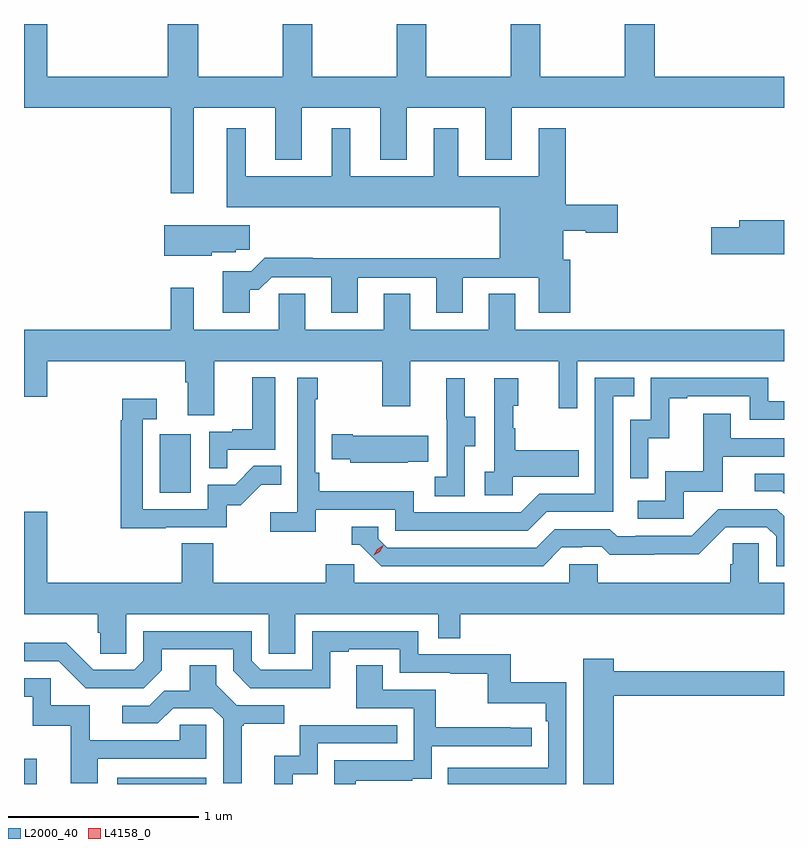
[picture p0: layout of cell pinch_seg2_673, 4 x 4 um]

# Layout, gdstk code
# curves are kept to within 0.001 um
import gdstk
lib = gdstk.Library(unit=1e-6, precision=1e-09)
def R(c, l, rs):  # rectangles x0, y0, x1, y1
    for r in rs: c.add(gdstk.rectangle(r[:2], r[2:], *l))
def P(c, l, *ps):  # polygons
    for p in ps: c.add(gdstk.Polygon(p, *l))
L2000_40 = (2000, 40)
L4158_0 = (4158, 0)

pinch_seg2_673 = lib.new_cell('pinch_seg2_673')
R(pinch_seg2_673, L2000_40, [(1100.114,598.79,1100.18,598.922), (1100.604,598.79,1101.072,598.824), (1100.828,600.324,1100.992,600.631)])
P(pinch_seg2_673, L2000_40, [(1101.007,602.348),(1101.437,602.348),(1101.437,602.075),(1101.577,602.075),(1101.577,602.348),(1101.989,602.348),(1101.989,602.075),(1102.129,602.075),(1102.129,602.348),(1102.541,602.348),(1102.541,602.075),(1102.681,602.075),(1102.681,602.348),(1104.114,602.348),(1104.114,602.512),(1103.435,602.512),(1103.435,602.79),(1103.275,602.79),(1103.275,602.512),(1102.83,602.512),(1102.83,602.79),(1102.675,602.79),(1102.675,602.512),(1102.23,602.512),(1102.23,602.79),(1102.075,602.79),(1102.075,602.512),(1101.63,602.512),(1101.63,602.79),(1101.475,602.79),(1101.475,602.512),(1101.03,602.512),(1101.03,602.79),(1100.87,602.79),(1100.87,602.512),(1100.236,602.512),(1100.236,602.79),(1100.114,602.79),(1100.114,602.348),(1100.886,602.348),(1100.886,601.899),(1101.007,601.899)],
  [(1101.301,601.391),(1101.35,601.391),(1101.417,601.458),(1101.731,601.458),(1101.731,601.269),(1101.871,601.269),(1101.871,601.455),(1102.283,601.455),(1102.283,601.269),(1102.423,601.269),(1102.423,601.455),(1102.823,601.455),(1102.823,601.269),(1102.988,601.269),(1102.988,601.548),(1102.951,601.548),(1102.951,601.703),(1103.071,601.703),(1103.071,601.691),(1103.239,601.691),(1103.239,601.838),(1102.964,601.838),(1102.964,602.242),(1102.823,602.242),(1102.823,601.99),(1102.399,601.99),(1102.399,602.242),(1102.271,602.242),(1102.271,601.99),(1101.832,601.99),(1101.832,602.242),(1101.734,602.242),(1101.734,601.99),(1101.28,601.99),(1101.28,602.242),(1101.182,602.242),(1101.182,601.826),(1102.619,601.826),(1102.619,601.556),(1101.635,601.556),(1101.635,601.559),(1101.38,601.559),(1101.309,601.488),(1101.161,601.488),(1101.161,601.269),(1101.301,601.269)],
  [(1104.114,601.757),(1103.879,601.757),(1103.879,601.721),(1103.73,601.721),(1103.73,601.579),(1104.114,601.579)],
  [(1101.102,601.589),(1101.228,601.589),(1101.228,601.603),(1101.301,601.603),(1101.301,601.732),(1100.852,601.732),(1100.852,601.571),(1101.102,601.571)],
  [(1101.115,601.016),(1102,601.016),(1102,600.777),(1102.147,600.777),(1102.147,601.016),(1102.928,601.016),(1102.928,600.768),(1103.025,600.768),(1103.025,601.016),(1104.114,601.016),(1104.114,601.18),(1102.699,601.18),(1102.699,601.37),(1102.559,601.37),(1102.559,601.18),(1102.147,601.18),(1102.147,601.37),(1102.007,601.37),(1102.007,601.18),(1101.595,601.18),(1101.595,601.37),(1101.456,601.37),(1101.456,601.18),(1101.007,601.18),(1101.007,601.402),(1100.886,601.402),(1100.886,601.18),(1100.114,601.18),(1100.114,600.828),(1100.236,600.828),(1100.236,601.016),(1100.963,601.016),(1100.963,600.904),(1100.975,600.904),(1100.975,600.73),(1101.115,600.73)],
  [(1101.185,600.549),(1101.436,600.549),(1101.436,600.931),(1101.314,600.931),(1101.314,600.658),(1101.211,600.658),(1101.211,600.645),(1101.09,600.645),(1101.09,600.451),(1101.185,600.451)],
  [(1101.65,600.234),(1102.068,600.234),(1102.068,600.123),(1102.765,600.123),(1102.864,600.222),(1103.214,600.222),(1103.214,600.831),(1103.327,600.831),(1103.327,600.927),(1103.118,600.927),(1103.118,600.318),(1102.827,600.318),(1102.728,600.219),(1102.164,600.219),(1102.164,600.331),(1101.668,600.331),(1101.668,600.427),(1101.648,600.427),(1101.648,600.815),(1101.661,600.815),(1101.661,600.928),(1101.552,600.928),(1101.552,600.22),(1101.411,600.22),(1101.411,600.118),(1101.65,600.118)],
  [(1103.4,600.611),(1103.51,600.611),(1103.51,600.819),(1103.605,600.819),(1103.605,600.831),(1103.934,600.831),(1103.934,600.708),(1104.114,600.708),(1104.114,600.804),(1104.03,600.804),(1104.03,600.927),(1103.412,600.927),(1103.412,600.708),(1103.304,600.708),(1103.304,600.399),(1103.4,600.399)],
  [(1102.434,600.568),(1102.489,600.568),(1102.489,600.723),(1102.435,600.723),(1102.435,600.925),(1102.337,600.925),(1102.337,600.711),(1102.338,600.711),(1102.338,600.407),(1102.275,600.407),(1102.275,600.304),(1102.434,600.304)],
  [(1102.686,600.407),(1103.033,600.407),(1103.033,600.547),(1102.699,600.547),(1102.699,600.662),(1102.689,600.662),(1102.689,600.78),(1102.714,600.78),(1102.714,600.925),(1102.59,600.925),(1102.59,600.434),(1102.539,600.434),(1102.539,600.309),(1102.686,600.309)],
  [(1100.861,600.141),(1101.18,600.141),(1101.18,600.258),(1101.256,600.258),(1101.363,600.365),(1101.467,600.365),(1101.467,600.464),(1101.324,600.464),(1101.226,600.366),(1101.081,600.366),(1101.081,600.237),(1100.739,600.237),(1100.739,600.711),(1100.812,600.711),(1100.812,600.817),(1100.631,600.817),(1100.631,600.704),(1100.623,600.704),(1100.623,600.136),(1100.861,600.136)],
  [(1103.586,600.327),(1103.791,600.327),(1103.791,600.513),(1104.114,600.513),(1104.114,600.609),(1103.833,600.609),(1103.833,600.739),(1103.689,600.739),(1103.689,600.436),(1103.49,600.436),(1103.49,600.282),(1103.343,600.282),(1103.343,600.186),(1103.586,600.186)],
  [(1102.133,600.485),(1102.241,600.485),(1102.241,600.622),(1101.844,600.622),(1101.844,600.63),(1101.733,600.63),(1101.733,600.5),(1101.831,600.5),(1101.831,600.482),(1102.133,600.482)],
  [(1104.114,600.423),(1103.961,600.423),(1103.961,600.33),(1104.102,600.33),(1104.114,600.318)],
  [(1102.945,600.036),(1103.052,600.036),(1103.052,600.039),(1103.155,600.039),(1103.197,599.997),(1103.43,599.997),(1103.43,599.999),(1103.666,599.999),(1103.808,600.141),(1104.024,600.141),(1104.072,600.093),(1104.072,599.937),(1104.114,599.937),(1104.114,600.198),(1104.075,600.237),(1103.769,600.237),(1103.628,600.096),(1103.335,600.096),(1103.335,600.093),(1103.236,600.093),(1103.197,600.132),(1102.908,600.132),(1102.809,600.033),(1102.026,600.033),(1101.978,600.081),(1101.978,600.144),(1101.839,600.144),(1101.839,600.048),(1101.882,600.048),(1101.993,599.937),(1102.846,599.937)],
  [(1100.652,599.684),(1101.402,599.684),(1101.402,599.476),(1101.541,599.476),(1101.541,599.684),(1102.293,599.684),(1102.293,599.557),(1102.409,599.557),(1102.409,599.684),(1104.114,599.684),(1104.114,599.848),(1103.982,599.848),(1103.982,600.056),(1103.845,600.056),(1103.845,599.946),(1103.831,599.946),(1103.831,599.848),(1103.133,599.848),(1103.133,599.946),(1102.983,599.946),(1102.983,599.848),(1101.852,599.848),(1101.852,599.946),(1101.701,599.946),(1101.701,599.848),(1101.11,599.848),(1101.11,600.056),(1100.945,600.056),(1100.945,599.848),(1100.236,599.848),(1100.236,600.223),(1100.114,600.223),(1100.114,599.684),(1100.501,599.684),(1100.501,599.586),(1100.515,599.586),(1100.515,599.476),(1100.652,599.476)],
  [(1102.968,599.326),(1102.675,599.326),(1102.675,599.472),(1102.188,599.472),(1102.188,599.595),(1101.63,599.595),(1101.63,599.391),(1101.36,599.391),(1101.312,599.439),(1101.312,599.595),(1100.742,599.595),(1100.742,599.439),(1100.694,599.391),(1100.478,599.391),(1100.336,599.533),(1100.114,599.533),(1100.114,599.436),(1100.298,599.436),(1100.439,599.295),(1100.745,599.295),(1100.839,599.389),(1100.839,599.499),(1101.216,599.499),(1101.216,599.385),(1101.306,599.295),(1101.727,599.294),(1101.727,599.487),(1101.823,599.487),(1101.823,599.499),(1102.092,599.499),(1102.092,599.376),(1102.357,599.376),(1102.357,599.371),(1102.554,599.371),(1102.554,599.216),(1102.859,599.216),(1102.859,599.12),(1102.872,599.12),(1102.872,598.875),(1102.345,598.876),(1102.345,598.79),(1102.968,598.79)],
  [(1103.218,599.254),(1104.114,599.254),(1104.114,599.383),(1103.218,599.383),(1103.218,599.449),(1103.057,599.449),(1103.057,598.79),(1103.218,598.79)],
  [(1101.259,599.097),(1101.271,599.097),(1101.271,599.108),(1101.484,599.108),(1101.484,599.205),(1101.234,599.205),(1101.127,599.312),(1101.127,599.414),(1100.987,599.414),(1100.987,599.282),(1100.852,599.282),(1100.772,599.202),(1100.631,599.202),(1100.631,599.109),(1100.818,599.109),(1100.899,599.19),(1101.105,599.19),(1101.162,599.133),(1101.162,598.794),(1101.259,598.794)],
  [(1101.859,598.806),(1102.157,598.806),(1102.157,598.817),(1102.26,598.817),(1102.26,598.989),(1102.786,598.989),(1102.786,599.085),(1102.673,599.085),(1102.673,599.09),(1102.28,599.09),(1102.28,599.286),(1102.003,599.286),(1102.003,599.414),(1101.863,599.414),(1101.863,599.19),(1102.164,599.19),(1102.164,598.914),(1101.748,598.914),(1101.748,598.79),(1101.859,598.79)],
  [(1100.503,598.923),(1101.072,598.923),(1101.072,599.103),(1100.935,599.103),(1100.935,599.019),(1100.461,599.019),(1100.461,599.205),(1100.256,599.205),(1100.256,599.346),(1100.114,599.346),(1100.114,599.25),(1100.16,599.25),(1100.16,599.097),(1100.359,599.097),(1100.359,598.794),(1100.503,598.794)],
  [(1101.528,598.841),(1101.66,598.841),(1101.66,599.004),(1102.079,599.004),(1102.079,599.1),(1101.564,599.1),(1101.564,598.939),(1101.431,598.939),(1101.431,598.79),(1101.528,598.79)])
P(pinch_seg2_673, L4158_0, [(1101.956,599.994),(1101.956,599.994),(1101.972,600.026),(1102.004,600.046),(1102.004,600.046),(1102.004,600.045),(1101.987,600.013),(1101.956,599.994)])

lib.write_gds('pinch_seg2_673.gds')
